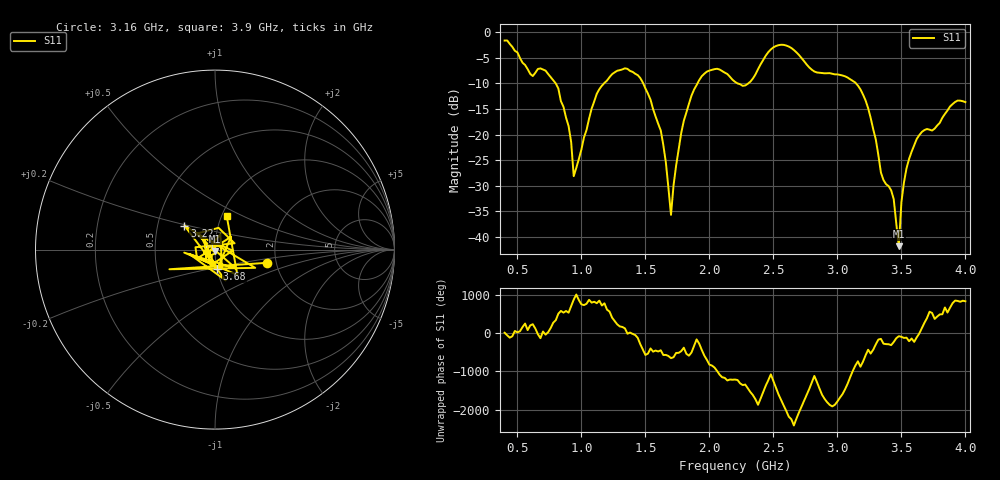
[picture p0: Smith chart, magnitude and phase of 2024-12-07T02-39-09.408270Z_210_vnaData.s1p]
!Created with skrf (http://scikit-rf.org).
# Hz S RI R 50.0
!freq ReS11 ImS11
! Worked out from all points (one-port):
!   181 points, 400 MHz to 4 GHz, reference 50 ohm
!   lowest |S11| = -41.8 dB at 3.48 GHz (marker M1), VSWR 1.02, Z = 50.2 - j0.795 ohm
!   |S11| at or under -10 dB: 799.4 MHz to 1.177 GHz (377.3 MHz wide, 38.2 % of centre); 1.483 GHz to 1.907 GHz (423.9 MHz wide, 25 % of centre); 3.146 GHz to end of sweep (the widest 3 of 4)
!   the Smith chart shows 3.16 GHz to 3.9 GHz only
!   S11 on the Smith chart (normalised r, x): 3.16 GHz: 1.80, -0.29; 3.22 GHz: 0.69, +0.19; 3.68 GHz: 1.00, -0.22; 3.9 GHz: 1.06, +0.41
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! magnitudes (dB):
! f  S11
! 400 MHz  -1.6
! 620 MHz  -8.6
! 720 MHz  -7.5
! 860 MHz  -14.6
! 920 MHz  -21.5
! 940 MHz  -28.1
! 1.12 GHz  -12.0
! 1.3 GHz  -7.4
! 1.54 GHz  -13.2
! 1.62 GHz  -19.2
! 1.7 GHz  -35.7
! 1.76 GHz  -22.8
! 1.94 GHz  -8.6
! 2.2 GHz  -9.7
! 2.32 GHz  -9.7
! 2.52 GHz  -2.7
! 2.66 GHz  -3.5
! 3.1 GHz  -9.2
! 3.16 GHz  -10.4
! 3.22 GHz  -13.3
! 3.34 GHz  -27.4
! 3.44 GHz  -32.6
! 3.48 GHz  -41.8
! 3.5 GHz  -33.2
! 3.56 GHz  -24.7
! 3.68 GHz  -19.1
! 3.9 GHz  -14.0
! 4 GHz  -13.6
